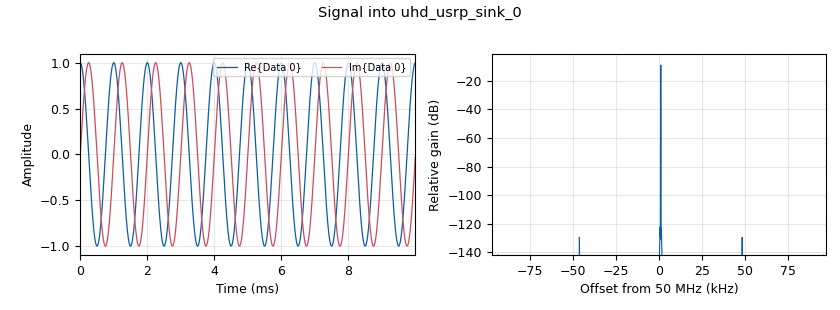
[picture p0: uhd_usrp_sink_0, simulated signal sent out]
options:
  parameters:
    author: Damian Morales
    generate_options: qt_gui
    id: PracticaAtenuacion
    output_language: python
    title: medida de atenuacion
  states: {}

blocks:
- name: Am
  id: variable_qtgui_range
  parameters:
    label: Amplitud señal de referencia
    start: '0'
    step: '0.01'
    stop: '1'
    value: '1'
  states: {}
- name: GTX
  id: variable_qtgui_range
  parameters:
    label: Ganancia en el transmisor
    start: '0'
    step: '1'
    stop: '30'
    value: '0'
  states: {}
- name: fc
  id: variable_qtgui_range
  parameters:
    label: Frecuencia TX MHz
    start: '50'
    step: '1'
    stop: '2200'
    value: '50'
  states: {}
- name: samp_rate
  id: variable
  parameters:
    value: 12500000/64
  states: {}
- name: analog_sig_source_x_0
  id: analog_sig_source_x
  parameters:
    amp: Am
    freq: '1000'
    offset: '0'
    phase: '0'
    samp_rate: samp_rate
    type: complex
    waveform: analog.GR_COS_WAVE
  states: {}
- name: uhd_usrp_sink_0
  id: uhd_usrp_sink
  parameters:
    ant0: '"TX/RX"'
    center_freq0: fc*1e6
    gain0: GTX
    samp_rate: samp_rate
    sync: pc_clock
    type: fc32
  states: {}

connections:
- [analog_sig_source_x_0, '0', uhd_usrp_sink_0, '0']

metadata:
  file_format: 1
